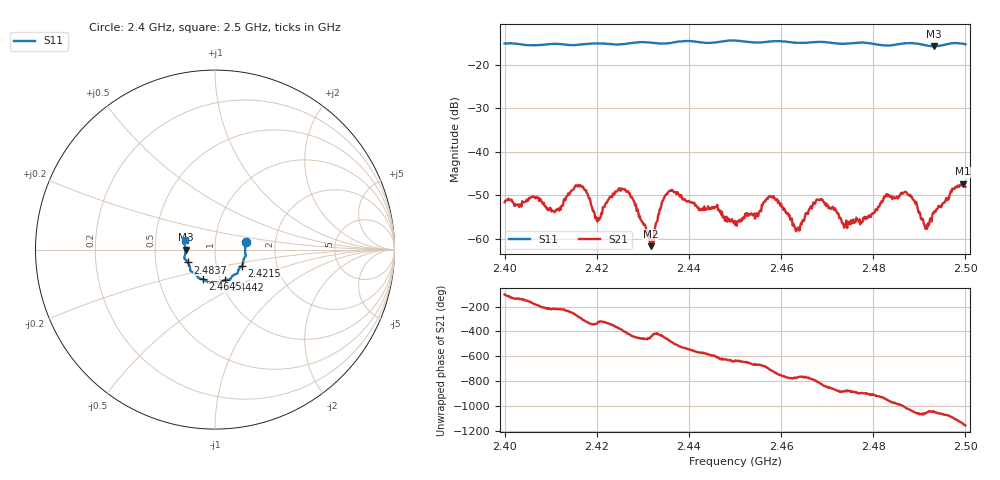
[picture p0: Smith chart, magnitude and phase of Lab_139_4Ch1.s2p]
# Hz S RI R 50
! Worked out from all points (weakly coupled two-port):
!   601 points, 2.4 GHz to 2.5 GHz, reference 50 ohm
!   highest |S21| = -47.40 dB at 2.4995 GHz (marker M1); lowest = -61.8 dB at 2.4317 GHz (marker M2)
!   lowest |S11| = -15.7 dB at 2.4932 GHz (marker M3), VSWR 1.39, Z = 35.9 - j0.0482 ohm
!   |S11| at or under -10 dB: start of sweep to end of sweep
!   S12 and S22 are empty: the file has one direction only
!   S11 on the Smith chart (normalised r, x): 2.4 GHz: 1.41, +0.12; 2.4215 GHz: 1.33, -0.25; 2.4442 GHz: 1.05, -0.37; 2.4645 GHz: 0.83, -0.29; 2.4837 GHz: 0.73, -0.11; 2.5 GHz: 0.71, +0.07
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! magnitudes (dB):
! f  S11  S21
! 2.4 GHz  -15.1  -51.7
! 2.4107 GHz  -15.2  -53.7
! 2.4167 GHz  -15.3  -47.9
! 2.4202 GHz  -15.1  -56.1
! 2.4215 GHz  -15.1  -52.8
! 2.4263 GHz  -15.2  -48.9
! 2.4317 GHz  -14.9  -61.8
! 2.4333 GHz  -15.1  -54.5
! 2.436 GHz  -15.0  -49.1
! 2.4442 GHz  -15.0  -52.6
! 2.45 GHz  -14.4  -56.8
! 2.4578 GHz  -14.6  -50.4
! 2.4645 GHz  -15.0  -56.7
! 2.4667 GHz  -14.8  -53.1
! 2.474 GHz  -15.1  -57.2
! 2.4833 GHz  -15.6  -50.1
! 2.4837 GHz  -15.5  -50.4
! 2.4875 GHz  -15.0  -49.9
! 2.4915 GHz  -15.5  -57.1
! 2.4932 GHz  -15.7  -54.1
! 2.4995 GHz  -15.2  -47.4
! 2.5 GHz  -15.3  -48.1
